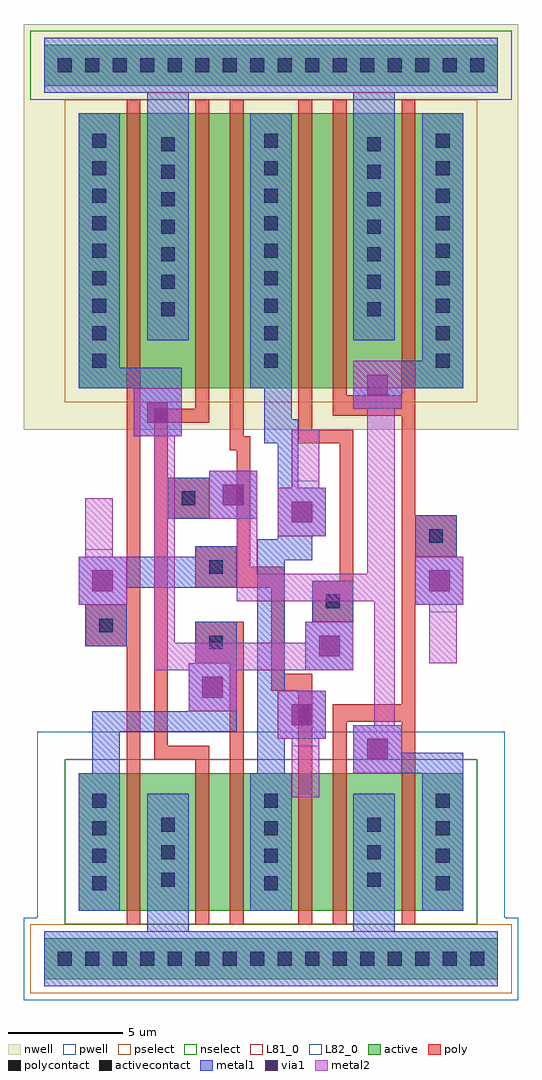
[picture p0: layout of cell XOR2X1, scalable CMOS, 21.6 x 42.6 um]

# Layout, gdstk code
import gdstk
lib = gdstk.Library(unit=1e-6, precision=1e-09)
def R(c, l, rs):  # rectangles x0, y0, x1, y1
    for r in rs: c.add(gdstk.rectangle(r[:2], r[2:], *l))
def A(c, l, x, y, w, h, nx, ny, dx, dy):  # array of equal rectangles
    R(c, l, [(x+i*dx, y+j*dy, x+i*dx+w, y+j*dy+h) for i in range(nx) for j in range(ny)])
pwell = (41, 0)
nwell = (42, 0)
active = (43, 0)
pselect = (44, 0)
nselect = (45, 0)
poly = (46, 0)
polycontact = (47, 0)
activecontact = (48, 0)
metal1 = (49, 0)
via1 = (50, 0)
metal2 = (51, 0)
L81_0 = (81, 0)
L82_0 = (82, 0)

xor2x1 = lib.new_cell('XOR2X1')
R(xor2x1, pwell, [(-1.8,-1.8,19.8,1.8), (-1.2,1.8,19.2,9.9)])
R(xor2x1, nwell, [(-1.8,23.1,19.8,40.8)])
R(xor2x1, active, [(-0.9,-0.9,18.9,0.9), (0.6,2.1,17.4,8.1), (0.6,24.9,17.4,36.9), (-0.9,38.1,18.9,39.9)])
R(xor2x1, pselect, [(-1.5,-1.5,19.5,1.5), (0,24.3,18,37.5)])
R(xor2x1, nselect, [(0,1.5,18,8.7), (-1.5,37.5,19.5,40.5)])
R(xor2x1, poly, [(2.7,1.5,3.3,13.65), (5.7,1.5,6.3,8.7), (7.2,1.5,7.8,12.9), (10.2,1.5,10.8,11.7), (11.7,1.5,12.3,10.35), (14.7,1.5,15.3,10.35), (3.9,8.7,6.3,9.3), (3.9,9.3,4.5,19.2), (11.7,10.35,15.3,11.1), (14.7,11.1,15.3,17.55), (9,11.7,10.8,12.45), (9,12.45,9.6,16.2), (5.7,12.9,7.8,14.7), (0.9,13.65,3.3,15.45), (10.8,14.7,12.6,16.5), (2.7,15.45,3.3,37.5), (5.7,16.2,9.6,17.1), (12,16.5,12.6,22.5), (5.7,17.1,8.1,18), (14.7,17.55,17.1,19.35), (7.5,18,8.1,22.2), (3.9,19.2,6.3,21), (14.7,19.35,15.3,23.7), (3.9,21,4.5,23.4), (7.2,22.2,8.1,22.8), (10.2,22.5,12.6,23.1), (7.2,22.8,7.8,37.5), (10.2,23.1,10.8,37.5), (3.9,23.4,6.3,24), (11.7,23.7,15.3,24.6), (5.7,24,6.3,37.5), (11.7,24.6,12.3,37.5), (14.7,24.6,15.3,37.5)])
R(xor2x1, polycontact, [(6.3,13.5,6.9,14.1), (1.5,14.25,2.1,14.85), (11.4,15.3,12,15.9), (6.3,16.8,6.9,17.4), (15.9,18.15,16.5,18.75), (5.1,19.8,5.7,20.4)])
A(xor2x1, activecontact, -0.3, -0.3, 0.6, 0.6, 16, 2, 1.2, 39)
A(xor2x1, activecontact, 1.2, 3, 0.6, 0.6, 3, 4, 7.5, 1.2)
A(xor2x1, activecontact, 4.2, 3.15, 0.6, 0.6, 1, 3, 0, 1.2)
A(xor2x1, activecontact, 13.2, 3.15, 0.6, 0.6, 1, 3, 0, 1.2)
A(xor2x1, activecontact, 1.2, 25.8, 0.6, 0.6, 3, 9, 7.5, 1.2)
A(xor2x1, activecontact, 4.2, 28.05, 0.6, 0.6, 1, 7, 0, 1.2)
A(xor2x1, activecontact, 13.2, 28.05, 0.6, 0.6, 1, 7, 0, 1.2)
A(xor2x1, metal1, 0.6, 2.1, 1.8, 6, 3, 1, 7.5, 0)
R(xor2x1, metal1, [(-0.9,-1.2,18.9,1.2), (3.6,1.2,5.4,7.2), (12.6,1.2,14.4,7.2), (1.2,8.1,2.4,9.9), (8.4,8.1,9.6,9.6), (12.6,8.1,17.4,9), (12.6,9,14.7,10.2), (8.4,9.6,11.4,11.7), (1.2,9.9,7.5,10.8), (5.4,10.8,7.5,12.9), (8.4,11.7,9.6,17.4), (10.5,12.6,12.6,14.7), (5.7,12.9,7.5,14.7), (0.9,13.65,2.7,15.45), (10.8,14.7,12.6,16.5), (0.6,15.45,2.7,16.2), (15.3,15.45,17.4,17.55), (0.6,16.2,7.5,17.55), (8.4,17.4,10.8,18.3), (5.7,17.55,7.5,18), (15.3,17.55,17.1,19.35), (9.3,18.3,10.8,18.45), (9.3,18.45,11.4,20.55), (4.5,19.2,8.4,21), (9.3,20.55,10.2,22.5), (6.3,21,8.4,21.3), (8.7,22.5,10.2,23.55), (3,22.8,5.1,24.9), (8.7,23.55,9.9,24.9), (12.6,24,14.7,24.9), (0.6,24.9,5.1,25.8), (8.1,24.9,9.9,36.9), (12.6,24.9,17.4,26.1), (0.6,25.8,2.4,36.9), (15.6,26.1,17.4,36.9), (3.6,27,5.4,37.8), (12.6,27,14.4,37.8), (-0.9,37.8,18.9,40.2)])
R(xor2x1, via1, [(13.2,8.7,14.1,9.6), (9.9,10.2,10.8,11.1), (6,11.4,6.9,12.3), (11.1,13.2,12,14.1), (1.2,16.05,2.1,16.95), (15.9,16.05,16.8,16.95), (9.9,19.05,10.8,19.95), (6.9,19.8,7.8,20.7), (3.6,23.4,4.5,24.3), (13.2,24.6,14.1,25.5)])
R(xor2x1, metal2, [(9.9,7.05,11.1,9.6), (12.6,8.1,14.7,10.2), (9.3,9.6,11.4,11.7), (13.5,10.2,14.4,15.6), (5.4,10.8,7.5,12.6), (3.9,12.6,12.6,13.8), (15.9,12.9,17.1,15.45), (3.9,13.8,4.8,22.8), (10.5,13.8,12.6,14.7), (0.6,15.45,2.7,17.55), (15.3,15.45,17.4,17.55), (7.5,15.6,14.4,16.8), (7.5,16.8,8.4,19.2), (13.2,16.8,14.4,24), (0.9,17.55,2.1,20.1), (9.3,18.45,11.4,20.55), (6.3,19.2,8.4,21.3), (9.9,20.55,11.1,23.1), (3,22.8,5.1,24.9), (12.6,24,14.7,26.1)])
R(xor2x1, L81_0, [(-0.9,-1.2,18.9,1.2), (-0.9,37.8,18.9,40.2)])
R(xor2x1, L82_0, [(9.9,7.05,11.1,9.3), (15.9,12.9,17.1,15.15), (0.9,17.85,2.1,20.1), (9.9,20.85,11.1,23.1)])

lib.write_gds('XOR2X1.gds')
